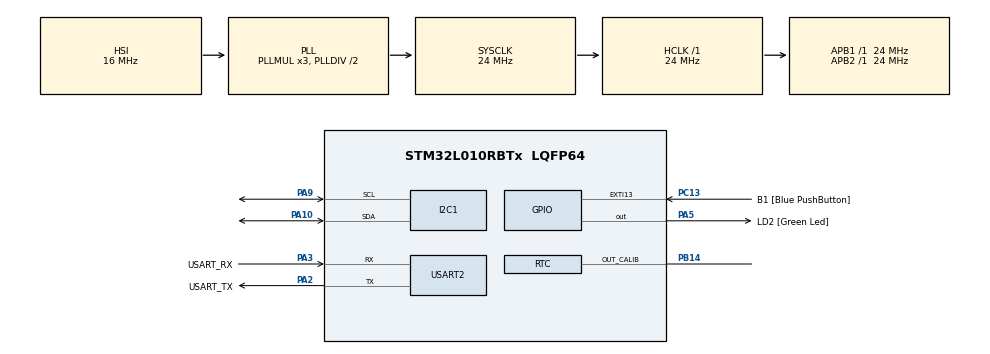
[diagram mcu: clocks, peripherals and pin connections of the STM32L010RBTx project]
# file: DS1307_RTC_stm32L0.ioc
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Mcu.Family=STM32L0
RCC.MSI_VALUE=2097000
PC15-OSC32_OUT.Mode=LSE-External-Oscillator
PH0-OSC_IN.Signal=RCC_OSC_IN
PA10.Mode=I2C
PC13.Signal=GPXTI13
PA14.GPIO_Label=TCK
VP_RTC_VS_RTC_Activate.Mode=RTC_Enabled
PC13.GPIO_Label=B1 [Blue PushButton]
PC14-OSC32_IN.Signal=RCC_OSC32_IN
RCC.SYSCLKSource=RCC_SYSCLKSOURCE_PLLCLK
ProjectManager.StackSize=0x400
PA3.Mode=Asynchronous
PA13.Signal=SYS_SWDIO
RCC.HSI16_VALUE=16000000
PA9.Mode=I2C
ProjectManager.TargetToolchain=STM32CubeIDE
RCC.HCLKFreq_Value=24000000
RCC.APB2TimFreq_Value=24000000
PA9.Signal=I2C1_SCL
I2C1.Timing=0x00506682
PC15-OSC32_OUT.Signal=RCC_OSC32_OUT
RCC.AHBFreq_Value=24000000
PH0-OSC_IN.Mode=HSE-External-Oscillator
PH0-OSC_IN.GPIO_Label=MCO
PB14.Signal=RTC_OUT_CALIB
PA5.Signal=GPIO_Output
RCC.HSE_VALUE=8000000
board=NUCLEO-L010RB
USART2.VirtualMode-Asynchronous=VM_ASYNC
RCC.VCOOutputFreq_Value=48000000
RCC.APB2Freq_Value=24000000
PC14-OSC32_IN.Mode=LSE-External-Oscillator
PB14.Mode=Calibration_1Hz
PH1-OSC_OUT.Signal=RCC_OSC_OUT
Mcu.Name=STM32L010RBTx
PA2.Signal=USART2_TX
PA13.GPIO_Label=TMS
PH1-OSC_OUT.Mode=HSE-External-Oscillator
RCC.SYSCLKFreq_VALUE=24000000
Mcu.Package=LQFP64
PA5.GPIO_Label=LD2 [Green Led]
PC13.GPIO_ModeDefaultEXTI=GPIO_MODE_IT_FALLING
PA2.GPIO_Label=USART_TX
PA10.Signal=I2C1_SDA
PA14.Signal=SYS_SWCLK
ProjectManager.HeapSize=0x200
RCC.HSI_VALUE=16000000
RCC.APB1TimFreq_Value=24000000
PA2.Mode=Asynchronous
RCC.APB1Freq_Value=24000000
RCC.HSI48_VALUE=48000000
PA3.GPIO_Label=USART_RX
PA3.Signal=USART2_RX

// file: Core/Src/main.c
/* USER CODE BEGIN Header */
/**
  ******************************************************************************
  * @file           : main.c
  * @brief          : Main program body
  ******************************************************************************
  * @attention
  *
  * <h2><center>&copy; Copyright (c) 2022 STMicroelectronics.
  * All rights reserved.</center></h2>
  *
  * This software component is licensed by ST under BSD 3-Clause license,
  * the "License"; You may not use this file except in compliance with the
  * License. You may obtain a copy of the License at:
  *                        opensource.org/licenses/BSD-3-Clause
  *
  ******************************************************************************
  */
/* USER CODE END Header */
#include "main.h"
#include <stdio.h>

/* USER CODE BEGIN PD */
#define DS1307_ADDRESS 0XD0
/* USER CODE END PD */

I2C_HandleTypeDef hi2c1;

RTC_HandleTypeDef hrtc;

UART_HandleTypeDef huart2;

void SystemClock_Config(void);
static void MX_GPIO_Init(void);
static void MX_I2C1_Init(void);
static void MX_RTC_Init(void);
static void MX_USART2_UART_Init(void);

/* USER CODE BEGIN 0 */

// Convert normal decimal numbers to binary coded decimal
uint8_t decToBcd(int val)
{
  return (uint8_t)( (val/10*16) + (val%10) );
}
// Convert binary coded decimal to normal decimal numbers
int bcdToDec(uint8_t val)
{
  return (int)( (val/16*10) + (val%16) );
}

typedef struct {
	uint8_t seconds;
	uint8_t minutes;
	uint8_t hour;
	uint8_t dayofweek;
	uint8_t dayofmonth;
	uint8_t month;
	uint8_t year;
} TIME;

TIME time;

// function to set time

void Set_Time (uint8_t sec, uint8_t min, uint8_t hour, uint8_t dow, uint8_t dom, uint8_t month, uint8_t year)
{
	uint8_t set_time[7];
	set_time[0] = decToBcd(sec);
	set_time[1] = decToBcd(min);
	set_time[2] = decToBcd(hour);
	set_time[3] = decToBcd(dow);
	set_time[4] = decToBcd(dom);
	set_time[5] = decToBcd(month);
	set_time[6] = decToBcd(year);

	HAL_I2C_Mem_Write(&hi2c1, DS1307_ADDRESS, 0x00, 1, set_time, 7, 1000);
}

void Get_Time (void)
{
	uint8_t get_time[7];
	HAL_I2C_Mem_Read(&hi2c1, DS1307_ADDRESS, 0x00, 1, get_time, 7, 1000);
	time.seconds = bcdToDec(get_time[0]);
	time.minutes = bcdToDec(get_time[1]);
	time.hour = bcdToDec(get_time[2]);
	time.dayofweek = bcdToDec(get_time[3]);
	time.dayofmonth = bcdToDec(get_time[4]);
	time.month = bcdToDec(get_time[5]);
	time.year = bcdToDec(get_time[6]);
}

float Get_Temp (void)
{
	uint8_t temp[2];

	HAL_I2C_Mem_Read(&hi2c1, DS1307_ADDRESS, 0x11, 1, temp, 2, 1000);
	return ((temp[0])+(temp[1]>>6)/4.0);
}

void force_temp_conv (void)
{
	uint8_t status=0;
	uint8_t control=0;
	HAL_I2C_Mem_Read(&hi2c1, DS1307_ADDRESS, 0x0F, 1, &status, 1, 100);  // read status register
	if (!(status&0x04))
	{
		HAL_I2C_Mem_Read(&hi2c1, DS1307_ADDRESS, 0x0E, 1, &control, 1, 100);  // read control register
		HAL_I2C_Mem_Write(&hi2c1, DS1307_ADDRESS, 0x0E, 1, (uint8_t *)(control|(0x20)), 1, 100);
	}
}

float TEMP;

char buffer[20];
char buffer2[20];

/* USER CODE END 0 */

int main(void)
{
  /* USER CODE BEGIN 1 */
	 int start = 0;

	start = HAL_GetTick();
  /* USER CODE END 1 */

  /* MCU Configuration--------------------------------------------------------*/

  /* Reset of all peripherals, Initializes the Flash interface and the Systick. */
  HAL_Init();

  /* Configure the system clock */
  SystemClock_Config();

  /* Initialize all configured peripherals */
  MX_GPIO_Init();
  MX_I2C1_Init();
  MX_RTC_Init();
  MX_USART2_UART_Init();
  /* USER CODE BEGIN 2 */
  Set_Time(45,45,10,2,16,3,22);

//int index = 0;

  while(1)
  {
	Get_Time();
  sprintf (buffer, "Time: %02d:%02d:%02d\t", time.hour, time.minutes, time.seconds);

  sprintf (buffer2, "Date: %02d-%02d-20%02d\n", time.dayofmonth, time.month, time.year);

  HAL_UART_Transmit(&huart2, (uint8_t*) buffer, sizeof(buffer), HAL_MAX_DELAY);

  HAL_UART_Transmit(&huart2, (uint8_t*)buffer2, sizeof(buffer2), HAL_MAX_DELAY);

  HAL_Delay(1000);

  //index++;
  }

 // stop = HAL_GetTick()-start;
  //sprintf (stop, "%", stop);

  //HAL_UART_Transmit(&huart2, &stop, sizeof(stop), HAL_MAX_DELAY);

  HAL_Delay(500);

  /* USER CODE END 2 */

  /* Infinite loop */
  while (1)
  {

  }
}

void SystemClock_Config(void)
{
  RCC_OscInitTypeDef RCC_OscInitStruct = {0};
  RCC_ClkInitTypeDef RCC_ClkInitStruct = {0};
  RCC_PeriphCLKInitTypeDef PeriphClkInit = {0};

  /** Configure the main internal regulator output voltage
  */
  __HAL_PWR_VOLTAGESCALING_CONFIG(PWR_REGULATOR_VOLTAGE_SCALE1);
  /** Initializes the RCC Oscillators according to the specified parameters
  * in the RCC_OscInitTypeDef structure.
  */
  RCC_OscInitStruct.OscillatorType = RCC_OSCILLATORTYPE_HSI|RCC_OSCILLATORTYPE_LSI;
  RCC_OscInitStruct.HSIState = RCC_HSI_ON;
  RCC_OscInitStruct.HSICalibrationValue = RCC_HSICALIBRATION_DEFAULT;
  RCC_OscInitStruct.LSIState = RCC_LSI_ON;
  RCC_OscInitStruct.PLL.PLLState = RCC_PLL_ON;
  RCC_OscInitStruct.PLL.PLLSource = RCC_PLLSOURCE_HSI;
  RCC_OscInitStruct.PLL.PLLMUL = RCC_PLLMUL_3;
  RCC_OscInitStruct.PLL.PLLDIV = RCC_PLLDIV_2;
  if (HAL_RCC_OscConfig(&RCC_OscInitStruct) != HAL_OK)
  {
    Error_Handler();
  }
  /** Initializes the CPU, AHB and APB buses clocks
  */
  RCC_ClkInitStruct.ClockType = RCC_CLOCKTYPE_HCLK|RCC_CLOCKTYPE_SYSCLK
                              |RCC_CLOCKTYPE_PCLK1|RCC_CLOCKTYPE_PCLK2;
  RCC_ClkInitStruct.SYSCLKSource = RCC_SYSCLKSOURCE_PLLCLK;
  RCC_ClkInitStruct.AHBCLKDivider = RCC_SYSCLK_DIV1;
  RCC_ClkInitStruct.APB1CLKDivider = RCC_HCLK_DIV1;
  RCC_ClkInitStruct.APB2CLKDivider = RCC_HCLK_DIV1;

  if (HAL_RCC_ClockConfig(&RCC_ClkInitStruct, FLASH_LATENCY_1) != HAL_OK)
  {
    Error_Handler();
  }
  PeriphClkInit.PeriphClockSelection = RCC_PERIPHCLK_USART2|RCC_PERIPHCLK_I2C1
                              |RCC_PERIPHCLK_RTC;
  PeriphClkInit.Usart2ClockSelection = RCC_USART2CLKSOURCE_PCLK1;
  PeriphClkInit.I2c1ClockSelection = RCC_I2C1CLKSOURCE_PCLK1;
  PeriphClkInit.RTCClockSelection = RCC_RTCCLKSOURCE_LSI;
  if (HAL_RCCEx_PeriphCLKConfig(&PeriphClkInit) != HAL_OK)
  {
    Error_Handler();
  }
}

static void MX_I2C1_Init(void)
{

  hi2c1.Instance = I2C1;
  hi2c1.Init.Timing = 0x00506682;
  hi2c1.Init.OwnAddress1 = 0;
  hi2c1.Init.AddressingMode = I2C_ADDRESSINGMODE_7BIT;
  hi2c1.Init.DualAddressMode = I2C_DUALADDRESS_DISABLE;
  hi2c1.Init.OwnAddress2 = 0;
  hi2c1.Init.OwnAddress2Masks = I2C_OA2_NOMASK;
  hi2c1.Init.GeneralCallMode = I2C_GENERALCALL_DISABLE;
  hi2c1.Init.NoStretchMode = I2C_NOSTRETCH_DISABLE;
  if (HAL_I2C_Init(&hi2c1) != HAL_OK)
  {
    Error_Handler();
  }
  /** Configure Analogue filter
  */
  if (HAL_I2CEx_ConfigAnalogFilter(&hi2c1, I2C_ANALOGFILTER_ENABLE) != HAL_OK)
  {
    Error_Handler();
  }
  /** Configure Digital filter
  */
  if (HAL_I2CEx_ConfigDigitalFilter(&hi2c1, 0) != HAL_OK)
  {
    Error_Handler();
  }

}

static void MX_RTC_Init(void)
{

  /** Initialize RTC Only
  */
  hrtc.Instance = RTC;
  hrtc.Init.HourFormat = RTC_HOURFORMAT_24;
  hrtc.Init.AsynchPrediv = 127;
  hrtc.Init.SynchPrediv = 255;
  hrtc.Init.OutPut = RTC_OUTPUT_DISABLE;
  hrtc.Init.OutPutRemap = RTC_OUTPUT_REMAP_POS1;
  hrtc.Init.OutPutPolarity = RTC_OUTPUT_POLARITY_HIGH;
  hrtc.Init.OutPutType = RTC_OUTPUT_TYPE_OPENDRAIN;
  if (HAL_RTC_Init(&hrtc) != HAL_OK)
  {
    Error_Handler();
  }
  /** Enable Calibrartion
  */
  if (HAL_RTCEx_SetCalibrationOutPut(&hrtc, RTC_CALIBOUTPUT_1HZ) != HAL_OK)
  {
    Error_Handler();
  }

}

static void MX_USART2_UART_Init(void)
{

  huart2.Instance = USART2;
  huart2.Init.BaudRate = 115200;
  huart2.Init.WordLength = UART_WORDLENGTH_8B;
  huart2.Init.StopBits = UART_STOPBITS_1;
  huart2.Init.Parity = UART_PARITY_NONE;
  huart2.Init.Mode = UART_MODE_TX_RX;
  huart2.Init.HwFlowCtl = UART_HWCONTROL_NONE;
  huart2.Init.OverSampling = UART_OVERSAMPLING_16;
  huart2.Init.OneBitSampling = UART_ONE_BIT_SAMPLE_DISABLE;
  huart2.AdvancedInit.AdvFeatureInit = UART_ADVFEATURE_NO_INIT;
  if (HAL_UART_Init(&huart2) != HAL_OK)
  {
    Error_Handler();
  }

}

static void MX_GPIO_Init(void)
{
  GPIO_InitTypeDef GPIO_InitStruct = {0};

  /* GPIO Ports Clock Enable */
  __HAL_RCC_GPIOC_CLK_ENABLE();
  __HAL_RCC_GPIOH_CLK_ENABLE();
  __HAL_RCC_GPIOA_CLK_ENABLE();
  __HAL_RCC_GPIOB_CLK_ENABLE();

  /*Configure GPIO pin Output Level */
  HAL_GPIO_WritePin(LD2_GPIO_Port, LD2_Pin, GPIO_PIN_RESET);

  /*Configure GPIO pin : B1_Pin */
  GPIO_InitStruct.Pin = B1_Pin;
  GPIO_InitStruct.Mode = GPIO_MODE_IT_FALLING;
  GPIO_InitStruct.Pull = GPIO_NOPULL;
  HAL_GPIO_Init(B1_GPIO_Port, &GPIO_InitStruct);

  /*Configure GPIO pin : LD2_Pin */
  GPIO_InitStruct.Pin = LD2_Pin;
  GPIO_InitStruct.Mode = GPIO_MODE_OUTPUT_PP;
  GPIO_InitStruct.Pull = GPIO_NOPULL;
  GPIO_InitStruct.Speed = GPIO_SPEED_FREQ_LOW;
  HAL_GPIO_Init(LD2_GPIO_Port, &GPIO_InitStruct);

}

void Error_Handler(void)
{
  __disable_irq();
  while (1)
  {
  }
}

/************************ (C) COPYRIGHT STMicroelectronics *****END OF FILE****/
